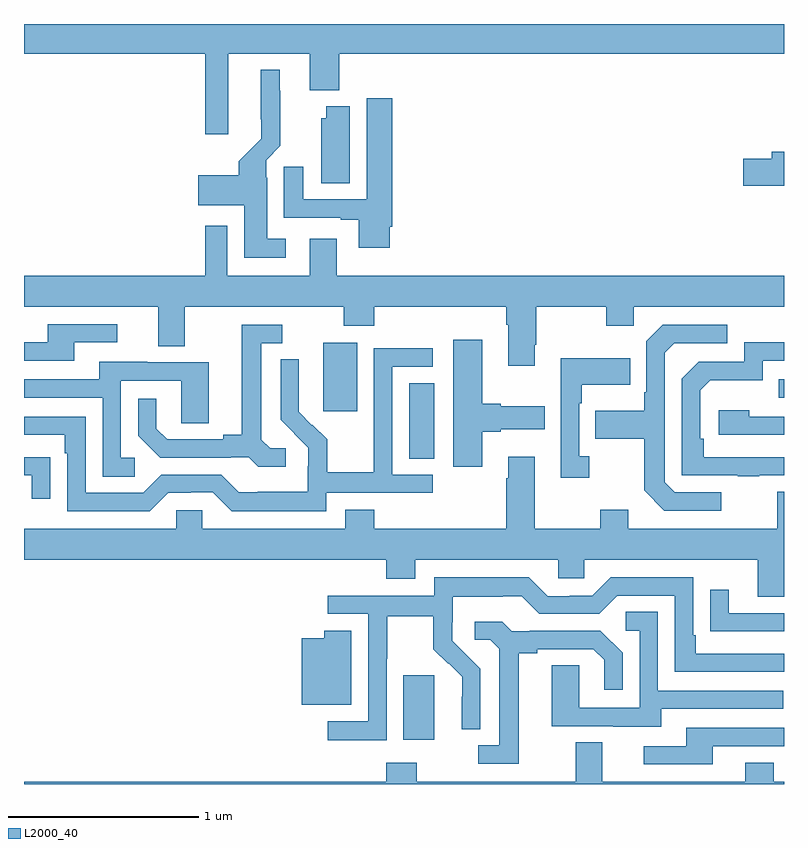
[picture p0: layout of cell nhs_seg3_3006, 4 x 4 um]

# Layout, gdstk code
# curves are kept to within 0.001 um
import gdstk
lib = gdstk.Library(unit=1e-6, precision=1e-09)
def R(c, l, rs):  # rectangles x0, y0, x1, y1
    for r in rs: c.add(gdstk.rectangle(r[:2], r[2:], *l))
def P(c, l, *ps):  # polygons
    for p in ps: c.add(gdstk.Polygon(p, *l))
L2000_40 = (2000, 40)

nhs_seg3_3006 = lib.new_cell('nhs_seg3_3006')
R(nhs_seg3_3006, L2000_40, [(268.997,702.633,269.158,702.973), (269.027,704.113,269.158,704.51), (268.574,704.361,268.753,704.722), (270.973,704.433,271,704.529)])
P(nhs_seg3_3006, L2000_40, [(268.075,706.244),(268.505,706.244),(268.505,706.052),(268.658,706.052),(268.658,706.244),(271,706.244),(271,706.4),(267,706.4),(267,706.244),(267.953,706.244),(267.953,705.819),(268.075,705.819)],
  [(268.378,705.271),(268.279,705.271),(268.279,705.59),(268.275,705.59),(268.275,705.684),(268.349,705.758),(268.349,706.049),(268.345,706.049),(268.345,706.159),(268.247,706.159),(268.248,705.796),(268.13,705.678),(268.13,705.604),(267.918,705.604),(267.918,705.446),(268.16,705.446),(268.16,705.17),(268.378,705.17)],
  [(268.924,705.334),(268.937,705.334),(268.937,706.009),(268.805,706.009),(268.805,705.477),(268.471,705.477),(268.471,705.649),(268.367,705.649),(268.367,705.381),(268.667,705.381),(268.667,705.369),(268.763,705.369),(268.763,705.222),(268.924,705.222)],
  [(268.714,705.967),(268.592,705.967),(268.592,705.903),(268.565,705.903),(268.565,705.562),(268.714,705.562)],
  [(271,705.728),(270.935,705.728),(270.935,705.692),(270.786,705.692),(270.786,705.55),(271,705.55)],
  [(269.689,704.713),(269.697,704.713),(269.697,704.912),(270.064,704.912),(270.064,704.813),(270.21,704.813),(270.21,704.912),(271,704.912),(271,705.076),(268.645,705.076),(268.645,705.271),(268.505,705.271),(268.505,705.076),(268.071,705.076),(268.071,705.337),(267.955,705.337),(267.955,705.076),(267,705.076),(267,704.912),(267.707,704.912),(267.707,704.704),(267.847,704.704),(267.847,704.912),(268.684,704.912),(268.684,704.813),(268.844,704.813),(268.844,704.912),(269.537,704.912),(269.537,704.816),(269.549,704.816),(269.549,704.601),(269.689,704.601)],
  [(267.265,704.724),(267.49,704.724),(267.49,704.82),(267.125,704.82),(267.125,704.724),(267,704.724),(267,704.628),(267.265,704.628)],
  [(270.67,703.935),(270.426,703.935),(270.372,703.989),(270.372,704.67),(270.423,704.721),(270.7,704.721),(270.7,704.817),(270.363,704.817),(270.276,704.73),(270.276,704.461),(270.264,704.461),(270.264,704.365),(270.007,704.365),(270.007,704.218),(270.264,704.218),(270.264,703.945),(270.369,703.839),(270.67,703.839)],
  [(268.378,704.166),(268.296,704.166),(268.249,704.213),(268.249,704.721),(268.36,704.721),(268.36,704.817),(268.145,704.817),(268.145,704.237),(268.049,704.237),(268.049,704.214),(267.754,704.214),(267.697,704.271),(267.697,704.428),(267.6,704.428),(267.6,704.234),(267.716,704.118),(268.088,704.118),(268.088,704.121),(268.182,704.121),(268.234,704.069),(268.378,704.069)],
  [(269.413,704.255),(269.509,704.255),(269.509,704.267),(269.74,704.267),(269.74,704.389),(269.509,704.389),(269.509,704.402),(269.413,704.402),(269.413,704.737),(269.258,704.737),(269.258,704.07),(269.413,704.07)],
  [(270.869,704.025),(271,704.025),(271,704.121),(270.578,704.121),(270.578,704.218),(270.558,704.218),(270.558,704.472),(270.611,704.525),(270.888,704.525),(270.888,704.628),(271,704.628),(271,704.724),(270.792,704.724),(270.792,704.622),(270.552,704.622),(270.462,704.532),(270.462,704.025),(270.757,704.025),(270.757,704.02),(270.869,704.02)],
  [(268.59,703.932),(269.152,703.932),(269.152,704.028),(268.938,704.028),(268.938,704.595),(269.152,704.595),(269.152,704.694),(268.842,704.694),(268.842,704.264),(268.84,704.264),(268.84,704.041),(268.595,704.041),(268.595,704.215),(268.518,704.292),(268.515,704.289),(268.445,704.36),(268.446,704.636),(268.35,704.636),(268.35,704.318),(268.496,704.17),(268.496,704.073),(268.494,704.073),(268.494,703.939),(268.231,703.939),(268.231,703.935),(268.131,703.935),(268.038,704.028),(267.723,704.028),(267.627,703.932),(267.324,703.932),(267.324,704.334),(267,704.334),(267,704.238),(267.215,704.238),(267.215,704.141),(267.228,704.141),(267.228,703.836),(267.663,703.836),(267.759,703.932),(267.878,703.932),(267.878,703.935),(267.993,703.935),(268.093,703.835),(268.59,703.835)],
  [(269.974,704.126),(269.922,704.126),(269.922,704.405),(269.935,704.405),(269.935,704.501),(270.191,704.501),(270.191,704.641),(269.826,704.641),(269.826,704.013),(269.974,704.013)],
  [(267.583,704.118),(267.51,704.118),(267.51,704.523),(267.828,704.523),(267.828,704.299),(267.973,704.299),(267.973,704.619),(267.649,704.619),(267.649,704.623),(267.395,704.623),(267.395,704.529),(267,704.529),(267,704.433),(267.414,704.433),(267.414,704.017),(267.583,704.017)],
  [(271,704.334),(270.818,704.334),(270.818,704.368),(270.657,704.368),(270.657,704.238),(271,704.238)],
  [(271,703.939),(270.965,703.939),(270.965,703.744),(270.181,703.744),(270.181,703.843),(270.034,703.843),(270.034,703.744),(269.689,703.744),(269.689,704.122),(269.549,704.122),(269.549,704.009),(269.537,704.009),(269.537,703.744),(268.844,703.744),(268.844,703.843),(268.691,703.843),(268.691,703.744),(267.939,703.744),(267.939,703.842),(267.801,703.842),(267.801,703.744),(267,703.744),(267,703.58),(268.907,703.58),(268.907,703.481),(269.059,703.481),(269.059,703.58),(269.811,703.58),(269.811,703.482),(269.949,703.482),(269.949,703.58),(270.863,703.58),(270.863,703.386),(271,703.386)],
  [(267.137,704.12),(267.035,704.12),(267.035,704.121),(267,704.121),(267,704.025),(267.041,704.025),(267.041,703.902),(267.137,703.902)],
  [(268.908,703.06),(268.911,703.06),(268.911,703.284),(269.155,703.284),(269.155,703.109),(269.232,703.032),(269.235,703.035),(269.306,702.965),(269.306,702.86),(269.303,702.86),(269.303,702.688),(269.4,702.688),(269.4,703.006),(269.254,703.154),(269.254,703.251),(269.256,703.251),(269.256,703.385),(269.519,703.385),(269.519,703.389),(269.619,703.389),(269.712,703.296),(270.027,703.296),(270.123,703.392),(270.426,703.392),(270.426,702.99),(271,702.99),(271,703.086),(270.535,703.086),(270.535,703.183),(270.522,703.183),(270.522,703.488),(270.087,703.488),(269.991,703.392),(269.873,703.392),(269.873,703.389),(269.757,703.389),(269.657,703.489),(269.16,703.489),(269.16,703.392),(268.599,703.392),(268.599,703.296),(268.812,703.296),(268.812,702.729),(268.599,702.729),(268.599,702.631),(268.908,702.631)],
  [(271,703.299),(270.709,703.299),(270.709,703.423),(270.613,703.423),(270.613,703.204),(270.715,703.204),(270.715,703.203),(271,703.203)],
  [(270.355,702.795),(270.995,702.795),(270.995,702.891),(270.336,702.891),(270.336,703.307),(270.168,703.307),(270.168,703.206),(270.24,703.206),(270.24,702.801),(269.922,702.801),(269.922,703.025),(269.777,703.025),(269.777,702.705),(270.101,702.705),(270.101,702.701),(270.355,702.701)],
  [(269.605,703.088),(269.701,703.088),(269.701,703.11),(269.996,703.11),(270.053,703.053),(270.053,702.897),(270.15,702.897),(270.15,703.09),(270.034,703.206),(269.662,703.206),(269.662,703.203),(269.568,703.203),(269.516,703.255),(269.373,703.255),(269.373,703.158),(269.454,703.158),(269.501,703.111),(269.501,702.603),(269.391,702.603),(269.391,702.507),(269.605,702.507)],
  [(268.723,703.207),(268.58,703.207),(268.58,703.168),(268.463,703.168),(268.463,702.818),(268.723,702.818)],
  [(270.625,702.6),(271,702.6),(271,702.696),(270.485,702.696),(270.485,702.6),(270.261,702.6),(270.261,702.504),(270.625,702.504)],
  [(271,702.412),(270.945,702.412),(270.945,702.511),(270.797,702.511),(270.797,702.412),(270.043,702.412),(270.043,702.62),(269.903,702.62),(269.903,702.412),(269.067,702.412),(269.067,702.511),(268.907,702.511),(268.907,702.412),(267,702.412),(267,702.4),(271,702.4)])

lib.write_gds('nhs_seg3_3006.gds')
